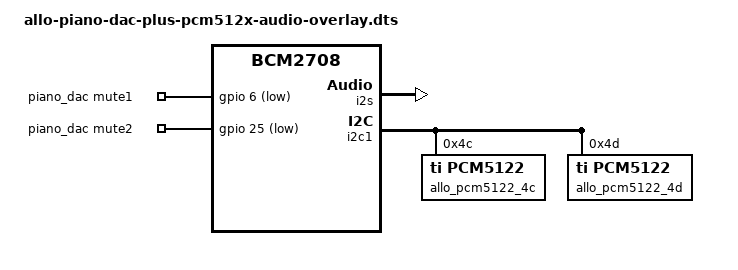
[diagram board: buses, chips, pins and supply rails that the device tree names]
// Definitions for Piano DAC
/dts-v1/;
/plugin/;

/ {
	compatible = "brcm,bcm2708";

	fragment@0 {
		target = <&i2s>;
		__overlay__ {
			status = "okay";
		};
	};

	fragment@1 {
		target = <&i2c1>;
		__overlay__ {
			#address-cells = <1>;
			#size-cells = <0>;
			status = "okay";

			allo_pcm5122_4c: pcm5122@4c {
				#sound-dai-cells = <0>;
				compatible = "ti,pcm5122";
				reg = <0x4c>;
				status = "okay";
			};
			allo_pcm5122_4d: pcm5122@4d {
				#sound-dai-cells = <0>;
				compatible = "ti,pcm5122";
				reg = <0x4d>;
				status = "okay";
			};
		};
	};

	fragment@2 {
		target = <&sound>;
		piano_dac: __overlay__ {
			compatible = "allo,piano-dac-plus";
			audio-codec = <&allo_pcm5122_4c &allo_pcm5122_4d>;
			i2s-controller = <&i2s>;
			mute1-gpios = <&gpio 6 1>;
			mute2-gpios = <&gpio 25 1>;
			status = "okay";
		};
	};

	__overrides__ {
		24db_digital_gain =
			<&piano_dac>,"allo,24db_digital_gain?";
		glb_mclk =
			<&piano_dac>,"allo,glb_mclk?";
	};
};
